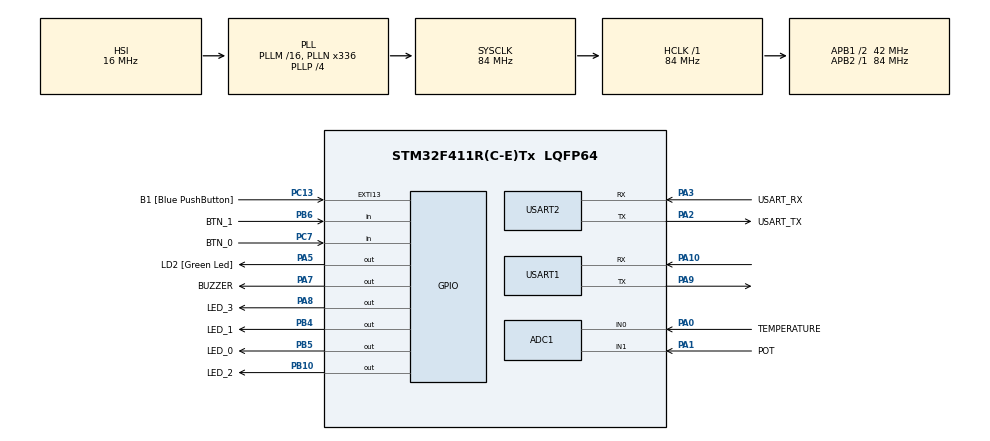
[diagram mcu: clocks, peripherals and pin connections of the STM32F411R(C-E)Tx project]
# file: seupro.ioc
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Mcu.Family=STM32F4
RCC.CortexFreq_Value=84000000
PA14.GPIO_Label=TCK
PB6.GPIO_Label=BTN_1
RCC.SYSCLKSource=RCC_SYSCLKSOURCE_PLLCLK
ProjectManager.StackSize=0x400
VP_FREERTOS_VS_CMSIS_V2.Mode=CMSIS_V2
PH0\ -\ OSC_IN.Signal=RCC_OSC_IN
RCC.HCLKFreq_Value=84000000
RCC.APB2TimFreq_Value=84000000
PB6.Signal=GPIO_Input
PC7.Signal=GPIO_Input
RCC.AHBFreq_Value=84000000
Dma.USART1_RX.0.Priority=DMA_PRIORITY_LOW
RCC.HSE_VALUE=8000000
PC13-ANTI_TAMP.Signal=GPXTI13
PC14-OSC32_IN.Mode=LSE-External-Oscillator
PA14.Mode=Serial_Wire
VP_SYS_VS_tim1.Mode=TIM1
PA8.Signal=GPIO_Output
SH.ADCx_IN0.0=ADC1_IN0,IN0
Dma.USART1_RX.0.MemInc=DMA_MINC_ENABLE
FREERTOS.configTOTAL_HEAP_SIZE=40000
RCC.FLatency-AdvancedSettings=FLASH_LATENCY_2
Mcu.Package=LQFP64
NVIC.TimeBase=TIM1_UP_TIM10_IRQn
USART2.VirtualMode=VM_ASYNC
PA2.GPIO_Label=USART_TX
NVIC.TimeBaseIP=TIM1
PA10.Signal=USART1_RX
Dma.USART1_RX.0.FIFOMode=DMA_FIFOMODE_DISABLE
SH.ADCx_IN1.0=ADC1_IN1,IN1
PB5.GPIO_Label=LED_0
NVIC.DMA2_Stream2_IRQn=true\:5\:0\:false\:false\:true\:true\:false\:true
RCC.APB1TimFreq_Value=84000000
Dma.USART1_RX.0.Mode=DMA_NORMAL
Dma.Request0=USART1_RX
Dma.USART1_RX.0.Instance=DMA2_Stream2
PB4.Signal=GPIO_Output
PA3.Signal=USART2_RX
PB3.GPIO_Label=SWO
PC15-OSC32_OUT.Mode=LSE-External-Oscillator
FREERTOS.Tasks01=displayTask,24,2048,startDisplayTask,Default,NULL,Dynamic,NULL,NULL;temperatureTask,24,2048,startTemperature,Default,NULL,Dynamic,NULL,NULL;globalTimeTask,24,2048,startGlobalTimeTask,Default,NULL,Dynamic,NULL,NULL
Dma.USART1_RX.0.PeriphDataAlignment=DMA_PDATAALIGN_BYTE
PA10.Mode=Asynchronous
PC13-ANTI_TAMP.GPIO_Label=B1 [Blue PushButton]
PB6.GPIO_PuPd=GPIO_PULLUP
PH1\ -\ OSC_OUT.Mode=HSE-External-Clock-Source
RCC.APB1CLKDivider=RCC_HCLK_DIV2
PC14-OSC32_IN.Signal=RCC_OSC32_IN
PA0-WKUP.GPIO_Label=TEMPERATURE
PA0-WKUP.Signal=ADCx_IN0
PA13.Signal=SYS_JTMS-SWDIO
PA3.Mode=Asynchronous
PA9.Mode=Asynchronous
PH0\ -\ OSC_IN.Mode=HSE-External-Clock-Source
PA8.GPIO_Label=LED_3
ProjectManager.TargetToolchain=STM32CubeIDE
PB10.GPIO_Label=LED_2
Dma.USART1_RX.0.Direction=DMA_PERIPH_TO_MEMORY
PA9.Signal=USART1_TX
ADC1.Channel-1\#ChannelRegularConversion=ADC_CHANNEL_0
PC7.GPIO_PuPd=GPIO_PULLUP
PC15-OSC32_OUT.Signal=RCC_OSC32_OUT
PA1.Signal=ADCx_IN1
Dma.USART1_RX.0.PeriphInc=DMA_PINC_DISABLE
PB10.Signal=GPIO_Output
PA5.Signal=GPIO_Output
PH1\ -\ OSC_OUT.Signal=RCC_OSC_OUT
board=NUCLEO-F411RE
RCC.VCOOutputFreq_Value=336000000
RCC.APB2Freq_Value=84000000
PB4.GPIO_Label=LED_1
PA1.GPIO_Label=POT
Dma.USART1_RX.0.MemDataAlignment=DMA_MDATAALIGN_BYTE
PA13.Mode=Serial_Wire
Mcu.Name=STM32F411R(C-E)Tx
PA2.Signal=USART2_TX
PA13.GPIO_Label=TMS
PC7.GPIO_Label=BTN_0
RCC.48MHZClocksFreq_Value=84000000
PB3.Signal=SYS_JTDO-SWO
ADC1.SamplingTime-1\#ChannelRegularConversion=ADC_SAMPLETIME_3CYCLES
RCC.SYSCLKFreq_VALUE=84000000
PB5.Signal=GPIO_Output
PA7.GPIO_Label=BUZZER
ADC1.master=1
PA5.GPIO_Label=LD2 [Green Led]
USART1.VirtualMode=VM_ASYNC
PC13-ANTI_TAMP.GPIO_ModeDefaultEXTI=GPIO_MODE_IT_FALLING
ADC1.Rank-1\#ChannelRegularConversion=1
PA14.Signal=SYS_JTCK-SWCLK
ProjectManager.HeapSize=0x200
NVIC.TIM1_UP_TIM10_IRQn=true\:0\:0\:false\:false\:true\:false\:false\:true
RCC.HSI_VALUE=16000000
FREERTOS.Mutexes01=timerMutex,Dynamic,NULL;temperatureMutex,Dynamic,NULL
RCC.PLLP=RCC_PLLP_DIV4
NVIC.PriorityGroup=NVIC_PRIORITYGROUP_4
ADC1.NbrOfConversionFlag=1
RCC.PLLN=336
PA2.Mode=Asynchronous
RCC.APB1Freq_Value=42000000
PA3.GPIO_Label=USART_RX
PA7.Signal=GPIO_Output

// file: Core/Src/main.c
/* USER CODE BEGIN Header */
/**
  ******************************************************************************
  * @file           : main.c
  * @brief          : Main program body
  ******************************************************************************
  * @attention
  *
  * <h2><center>&copy; Copyright (c) 2021 STMicroelectronics.
  * All rights reserved.</center></h2>
  *
  * This software component is licensed by ST under BSD 3-Clause license,
  * the "License"; You may not use this file except in compliance with the
  * License. You may obtain a copy of the License at:
  *                        opensource.org/licenses/BSD-3-Clause
  *
  ******************************************************************************
  */
/* USER CODE END Header */
#include "main.h"
#include "cmsis_os.h"

/* USER CODE BEGIN Includes */
#include "utility.h"

/* USER CODE END Includes */

/* USER CODE BEGIN PD */
#define R25    		  10000.0
#define T25           298.15
#define BETA          3900
#define PRINT		  &huart2
#define UART_ESP8266  &huart1

/* USER CODE END PD */

ADC_HandleTypeDef hadc1;

UART_HandleTypeDef huart1;
UART_HandleTypeDef huart2;
DMA_HandleTypeDef hdma_usart1_rx;

/* Definitions for displayTask */
osThreadId_t displayTaskHandle;
const osThreadAttr_t displayTask_attributes = {
  .name = "displayTask",
  .stack_size = 2048 * 4,
  .priority = (osPriority_t) osPriorityNormal,
};
/* Definitions for temperatureTask */
osThreadId_t temperatureTaskHandle;
const osThreadAttr_t temperatureTask_attributes = {
  .name = "temperatureTask",
  .stack_size = 2048 * 4,
  .priority = (osPriority_t) osPriorityNormal,
};
/* Definitions for globalTimeTask */
osThreadId_t globalTimeTaskHandle;
const osThreadAttr_t globalTimeTask_attributes = {
  .name = "globalTimeTask",
  .stack_size = 2048 * 4,
  .priority = (osPriority_t) osPriorityNormal,
};
/* Definitions for timerMutex */
osMutexId_t timerMutexHandle;
const osMutexAttr_t timerMutex_attributes = {
  .name = "timerMutex"
};
/* Definitions for temperatureMutex */
osMutexId_t temperatureMutexHandle;
const osMutexAttr_t temperatureMutex_attributes = {
  .name = "temperatureMutex"
};
/* USER CODE BEGIN PV */

int     light_list[4]={0,0,0,0};
char    global_time_buffer[6];
float 	global_temperature_buffer = 0.0;
char	buff_sprintf100[100];
uint8_t buff_sprintf100_1[100];
uint8_t buff_recv[2048];
uint8_t buff_response1[2048];

/* USER CODE END PV */

void SystemClock_Config(void);
static void MX_GPIO_Init(void);
static void MX_DMA_Init(void);
static void MX_USART2_UART_Init(void);
static void MX_USART1_UART_Init(void);
static void MX_ADC1_Init(void);
void startDisplayTask(void *argument);
void startTemperature(void *argument);
void startGlobalTimeTask(void *argument);

int main(void)
{

  /* MCU Configuration--------------------------------------------------------*/

  /* Reset of all peripherals, Initializes the Flash interface and the Systick. */
  HAL_Init();

  /* Configure the system clock */
  SystemClock_Config();

  /* Initialize all configured peripherals */
  MX_GPIO_Init();
  MX_DMA_Init();
  MX_USART2_UART_Init();
  MX_USART1_UART_Init();
  MX_ADC1_Init();

  /* Init scheduler */
  osKernelInitialize();
  /* Create the mutex(es) */
  /* creation of timerMutex */
  timerMutexHandle = osMutexNew(&timerMutex_attributes);

  /* creation of temperatureMutex */
  temperatureMutexHandle = osMutexNew(&temperatureMutex_attributes);

  /* Create the thread(s) */
  /* creation of displayTask */
  displayTaskHandle = osThreadNew(startDisplayTask, NULL, &displayTask_attributes);

  /* creation of temperatureTask */
  temperatureTaskHandle = osThreadNew(startTemperature, NULL, &temperatureTask_attributes);

  /* creation of globalTimeTask */
  globalTimeTaskHandle = osThreadNew(startGlobalTimeTask, NULL, &globalTimeTask_attributes);

  /* Start scheduler */
  osKernelStart();

  /* We should never get here as control is now taken by the scheduler */
  /* Infinite loop */
  while (1)
  {

  }
}

void SystemClock_Config(void)
{
  RCC_OscInitTypeDef RCC_OscInitStruct = {0};
  RCC_ClkInitTypeDef RCC_ClkInitStruct = {0};

  /** Configure the main internal regulator output voltage
  */
  __HAL_RCC_PWR_CLK_ENABLE();
  __HAL_PWR_VOLTAGESCALING_CONFIG(PWR_REGULATOR_VOLTAGE_SCALE1);
  /** Initializes the RCC Oscillators according to the specified parameters
  * in the RCC_OscInitTypeDef structure.
  */
  RCC_OscInitStruct.OscillatorType = RCC_OSCILLATORTYPE_HSI;
  RCC_OscInitStruct.HSIState = RCC_HSI_ON;
  RCC_OscInitStruct.HSICalibrationValue = RCC_HSICALIBRATION_DEFAULT;
  RCC_OscInitStruct.PLL.PLLState = RCC_PLL_ON;
  RCC_OscInitStruct.PLL.PLLSource = RCC_PLLSOURCE_HSI;
  RCC_OscInitStruct.PLL.PLLM = 16;
  RCC_OscInitStruct.PLL.PLLN = 336;
  RCC_OscInitStruct.PLL.PLLP = RCC_PLLP_DIV4;
  RCC_OscInitStruct.PLL.PLLQ = 4;
  if (HAL_RCC_OscConfig(&RCC_OscInitStruct) != HAL_OK)
  {
    Error_Handler();
  }
  /** Initializes the CPU, AHB and APB buses clocks
  */
  RCC_ClkInitStruct.ClockType = RCC_CLOCKTYPE_HCLK|RCC_CLOCKTYPE_SYSCLK
                              |RCC_CLOCKTYPE_PCLK1|RCC_CLOCKTYPE_PCLK2;
  RCC_ClkInitStruct.SYSCLKSource = RCC_SYSCLKSOURCE_PLLCLK;
  RCC_ClkInitStruct.AHBCLKDivider = RCC_SYSCLK_DIV1;
  RCC_ClkInitStruct.APB1CLKDivider = RCC_HCLK_DIV2;
  RCC_ClkInitStruct.APB2CLKDivider = RCC_HCLK_DIV1;

  if (HAL_RCC_ClockConfig(&RCC_ClkInitStruct, FLASH_LATENCY_2) != HAL_OK)
  {
    Error_Handler();
  }
}

static void MX_ADC1_Init(void)
{

  ADC_ChannelConfTypeDef sConfig = {0};

  /** Configure the global features of the ADC (Clock, Resolution, Data Alignment and number of conversion)
  */
  hadc1.Instance = ADC1;
  hadc1.Init.ClockPrescaler = ADC_CLOCK_SYNC_PCLK_DIV4;
  hadc1.Init.Resolution = ADC_RESOLUTION_12B;
  hadc1.Init.ScanConvMode = DISABLE;
  hadc1.Init.ContinuousConvMode = DISABLE;
  hadc1.Init.DiscontinuousConvMode = DISABLE;
  hadc1.Init.ExternalTrigConvEdge = ADC_EXTERNALTRIGCONVEDGE_NONE;
  hadc1.Init.ExternalTrigConv = ADC_SOFTWARE_START;
  hadc1.Init.DataAlign = ADC_DATAALIGN_RIGHT;
  hadc1.Init.NbrOfConversion = 1;
  hadc1.Init.DMAContinuousRequests = DISABLE;
  hadc1.Init.EOCSelection = ADC_EOC_SINGLE_CONV;
  if (HAL_ADC_Init(&hadc1) != HAL_OK)
  {
    Error_Handler();
  }
  /** Configure for the selected ADC regular channel its corresponding rank in the sequencer and its sample time.
  */
  sConfig.Channel = ADC_CHANNEL_0;
  sConfig.Rank = 1;
  sConfig.SamplingTime = ADC_SAMPLETIME_3CYCLES;
  if (HAL_ADC_ConfigChannel(&hadc1, &sConfig) != HAL_OK)
  {
    Error_Handler();
  }

}

static void MX_USART1_UART_Init(void)
{

  huart1.Instance = USART1;
  huart1.Init.BaudRate = 115200;
  huart1.Init.WordLength = UART_WORDLENGTH_8B;
  huart1.Init.StopBits = UART_STOPBITS_1;
  huart1.Init.Parity = UART_PARITY_NONE;
  huart1.Init.Mode = UART_MODE_TX_RX;
  huart1.Init.HwFlowCtl = UART_HWCONTROL_NONE;
  huart1.Init.OverSampling = UART_OVERSAMPLING_16;
  if (HAL_UART_Init(&huart1) != HAL_OK)
  {
    Error_Handler();
  }

}

static void MX_USART2_UART_Init(void)
{

  huart2.Instance = USART2;
  huart2.Init.BaudRate = 115200;
  huart2.Init.WordLength = UART_WORDLENGTH_8B;
  huart2.Init.StopBits = UART_STOPBITS_1;
  huart2.Init.Parity = UART_PARITY_NONE;
  huart2.Init.Mode = UART_MODE_TX_RX;
  huart2.Init.HwFlowCtl = UART_HWCONTROL_NONE;
  huart2.Init.OverSampling = UART_OVERSAMPLING_16;
  if (HAL_UART_Init(&huart2) != HAL_OK)
  {
    Error_Handler();
  }

}

static void MX_DMA_Init(void)
{

  /* DMA controller clock enable */
  __HAL_RCC_DMA2_CLK_ENABLE();

  /* DMA interrupt init */
  /* DMA2_Stream2_IRQn interrupt configuration */
  HAL_NVIC_SetPriority(DMA2_Stream2_IRQn, 5, 0);
  HAL_NVIC_EnableIRQ(DMA2_Stream2_IRQn);

}

static void MX_GPIO_Init(void)
{
  GPIO_InitTypeDef GPIO_InitStruct = {0};

  /* GPIO Ports Clock Enable */
  __HAL_RCC_GPIOC_CLK_ENABLE();
  __HAL_RCC_GPIOH_CLK_ENABLE();
  __HAL_RCC_GPIOA_CLK_ENABLE();
  __HAL_RCC_GPIOB_CLK_ENABLE();

  /*Configure GPIO pin Output Level */
  HAL_GPIO_WritePin(GPIOA, LD2_Pin|BUZZER_Pin|LED_3_Pin, GPIO_PIN_RESET);

  /*Configure GPIO pin Output Level */
  HAL_GPIO_WritePin(GPIOB, LED_2_Pin|LED_1_Pin|LED_0_Pin, GPIO_PIN_RESET);

  /*Configure GPIO pin : B1_Pin */
  GPIO_InitStruct.Pin = B1_Pin;
  GPIO_InitStruct.Mode = GPIO_MODE_IT_FALLING;
  GPIO_InitStruct.Pull = GPIO_NOPULL;
  HAL_GPIO_Init(B1_GPIO_Port, &GPIO_InitStruct);

  /*Configure GPIO pins : LD2_Pin BUZZER_Pin LED_3_Pin */
  GPIO_InitStruct.Pin = LD2_Pin|BUZZER_Pin|LED_3_Pin;
  GPIO_InitStruct.Mode = GPIO_MODE_OUTPUT_PP;
  GPIO_InitStruct.Pull = GPIO_NOPULL;
  GPIO_InitStruct.Speed = GPIO_SPEED_FREQ_LOW;
  HAL_GPIO_Init(GPIOA, &GPIO_InitStruct);

  /*Configure GPIO pins : LED_2_Pin LED_1_Pin LED_0_Pin */
  GPIO_InitStruct.Pin = LED_2_Pin|LED_1_Pin|LED_0_Pin;
  GPIO_InitStruct.Mode = GPIO_MODE_OUTPUT_PP;
  GPIO_InitStruct.Pull = GPIO_NOPULL;
  GPIO_InitStruct.Speed = GPIO_SPEED_FREQ_LOW;
  HAL_GPIO_Init(GPIOB, &GPIO_InitStruct);

  /*Configure GPIO pin : BTN_0_Pin */
  GPIO_InitStruct.Pin = BTN_0_Pin;
  GPIO_InitStruct.Mode = GPIO_MODE_INPUT;
  GPIO_InitStruct.Pull = GPIO_PULLUP;
  HAL_GPIO_Init(BTN_0_GPIO_Port, &GPIO_InitStruct);

  /*Configure GPIO pin : BTN_1_Pin */
  GPIO_InitStruct.Pin = BTN_1_Pin;
  GPIO_InitStruct.Mode = GPIO_MODE_INPUT;
  GPIO_InitStruct.Pull = GPIO_PULLUP;
  HAL_GPIO_Init(BTN_1_GPIO_Port, &GPIO_InitStruct);

}

/* USER CODE BEGIN 4 */

/*
 * Function for setting the lights and activating the Buzzer
 * */
void set_lights_and_buzzer(int buzz){
	HAL_GPIO_WritePin(GPIOB, LED_0_Pin, light_list[0]);
	HAL_GPIO_WritePin(GPIOB, LED_1_Pin, light_list[1]);
	HAL_GPIO_WritePin(GPIOB, LED_2_Pin, light_list[2]);
	HAL_GPIO_WritePin(GPIOA, LED_3_Pin, light_list[3]);

	HAL_GPIO_WritePin(GPIOA, BUZZER_Pin, buzz);

}

/*
 * time_buffer_write() and time_buffer_read() makes sure the reading and writing to the global buffer happens with mutual exclution
 * */
void time_buffer_write(char* time, int size){
	while( osMutexAcquire(timerMutexHandle, 10000/portTICK_RATE_MS) != osOK);	// Aquire mutex
	for(int i=0; i < size;i++){
		global_time_buffer[i] = time[i];
	}
	while(osMutexRelease(timerMutexHandle) != osOK);	//Release mutex
}

/*
 * time_buffer_write() and time_buffer_read() makes sure the reading and writing to the global buffer happens with mutual exclution
 * */
void time_buffer_read(char* time, int size){

	while(osMutexAcquire(timerMutexHandle, 10000/portTICK_RATE_MS) != osOK);	// Aquire mutex
	for(int i = 0; i<size; i++){
		time[i] = global_time_buffer[i];
	}
	while(osMutexRelease(timerMutexHandle) != osOK);
}

/*
 * temperature_buffer_write() and temperature_buffer_read() makes sure the reading and writing to the global buffer happens with mutual exclution
 * */
void temperature_buffer_write(float temperature){
	while( osMutexAcquire(temperatureMutexHandle, 10000/portTICK_RATE_MS) != osOK);	// Aquire mutex
	global_temperature_buffer = temperature;
	while(osMutexRelease(temperatureMutexHandle) != osOK);	//Release mutex
}

/*
 * temperature_buffer_write() and temperature_buffer_read() makes sure the reading and writing to the global buffer happens with mutual exclution
 * */
float temperature_buffer_read(){
	float temperature = 0.0;
	while(osMutexAcquire(temperatureMutexHandle, 10000/portTICK_RATE_MS) != osOK);	// Aquire mutex
	temperature = global_temperature_buffer;
	while(osMutexRelease(temperatureMutexHandle) != osOK);
	return temperature;
}

/*
 *	 This function takes in the response from a HTTP request and cleans away so were left with only the JSON.
 */
void cleanResponse(char * data, int maxlen){

	int t,h,l,o,i = 0;
	char * res;
	int indexbk;
	char bytes[4];

	res = data;

	for(t=0; t < maxlen; t++) buff_response1[t] = '*';

	for(t = 0; t< maxlen;){
		res = strnstr(res, "+IPD", maxlen-t);
		if(res!=NULL){
			bytes[0]=*(res+5);
			bytes[1]=*(res+6);
			bytes[2]=*(res+7);
			bytes[3]=*(res+8);

			for(h=0;h<4;h++) if(bytes[h]==':'){o=h;bytes[h]=0;}
			l=atoi(bytes);

			for(h=0;h<l;h++)buff_response1[t+h]=*(res+h+o+6);
			indexbk = t+h;
			t=t+l;
			res = res+t+o+6; // To avoid +IPD
		}else{
			buff_response1[indexbk] = 0;
			break;
		}
	}
	i=0;
	do{
	}while(buff_response1[i++]!='{');
	i--;

	for(t = 0; t < (2048-i); t++){
		buff_response1[t] = buff_response1[t+1];
	}

}

/*
 * This functions send a HTTP request to worldclockapi.com to get the current time
 * */
void ESP8266_get_time(void) {
	int ct;
	sprintf(buff_sprintf100,"AT+CIPSTART=\"TCP\",\"%s\",%s\r\n","worldclockapi.com","80");
	HAL_UART_Transmit(UART_ESP8266,( unsigned char *) buff_sprintf100, strlen( buff_sprintf100),100000); // cabecera
	osDelay(100);
	sprintf(buff_sprintf100,"GET /api/json/cet/now HTTP/1.1\r\nAccept: text/html\r\nHost: worldclockapi.com\r\n\r\n");
	sprintf(buff_sprintf100_1,( unsigned char *)"AT+CIPSEND=%d\r\n",strlen(buff_sprintf100));
	HAL_UART_Transmit(UART_ESP8266,( unsigned char *) buff_sprintf100_1, strlen( buff_sprintf100_1),100000); // cabecera
	osDelay(100);

	for (ct=0;ct<2048;ct++) buff_recv[ct]=0;
	HAL_UART_Receive_DMA(UART_ESP8266, buff_recv,2048);
	HAL_UART_Transmit(UART_ESP8266,( unsigned char *) buff_sprintf100, strlen( buff_sprintf100),100000); // cabecera
	osDelay(500);
	HAL_UART_DMAStop(UART_ESP8266);

	cleanResponse(( unsigned char *)buff_recv,2048);
}

/*
 * This function is to set up the ESP8266 to connect to wifi. It is only runned once.
 * */
void ESP8266_Boot(void)
{
	int ct;

	    // Tiene IP?
		for (ct=0;ct<2048;ct++) buff_recv[ct]=0;
		HAL_UART_Receive_DMA(UART_ESP8266, buff_recv,2048);
		HAL_UART_Transmit(UART_ESP8266, ( unsigned char *)"AT+CIFSR\r\n",strlen("AT+CIFSR\r\n"),10000);
		osDelay(2000);
		HAL_UART_DMAStop(UART_ESP8266);
		HAL_UART_Transmit(&huart2, buff_recv,strlen((char*)buff_recv),10000);

		// Pon en modo station=1,  station+access_point=3
		for (ct=0;ct<2048;ct++) buff_recv[ct]=0;
		HAL_UART_Receive_DMA(UART_ESP8266, buff_recv,2048);
		HAL_UART_Transmit(UART_ESP8266, ( unsigned char *) "AT+CWMODE=1\r\n",strlen("AT+CWMODE=1\r\n"),100000);
		osDelay(2000);
		HAL_UART_DMAStop(UART_ESP8266);
		HAL_UART_Transmit(&huart2, buff_recv,strlen((char *)buff_recv),10000);

		// Programa la contraseña del access-point
		for (ct=0;ct<2048;ct++) buff_recv[ct]=0;
		HAL_UART_Receive_DMA(UART_ESP8266, buff_recv,2048);
		HAL_UART_Transmit(UART_ESP8266,( unsigned char *) "AT+CWJAP=\"Lowi338D\",\"VVGH3T7SR28SQ9\"\r\n",strlen("AT+CWJAP=\"Lowi338D\",\"VVGH3T7SR28SQ9\"\r\n"),10000);
		osDelay(10000);
		HAL_UART_DMAStop(UART_ESP8266);
		HAL_UART_Transmit(&huart2, buff_recv,strlen((char *)buff_recv),10000);

		// verifica si hay IP
		for (ct=0;ct<2048;ct++) buff_recv[ct]=0;
		HAL_UART_Receive_DMA(UART_ESP8266, buff_recv,2048);
		HAL_UART_Transmit(UART_ESP8266, ( unsigned char *)"AT+CIFSR\r\n",strlen("AT+CIFSR\r\n"),10000);
		osDelay(4000);
		HAL_UART_DMAStop(UART_ESP8266);
		HAL_UART_Transmit(&huart2, buff_recv,strlen((char *)buff_recv),10000);

}

/* USER CODE END 4 */

void startDisplayTask(void *argument)
{
  /* USER CODE BEGIN 5 */
  /* Infinite loop */

  for(;;)
  {
	 osDelay(1000);

	 // Get temperature from global buffer
	 float temperature = 0.0;
	 temperature = temperature_buffer_read();

	 // Get time from global buffer
	 char time[6];
	 time_buffer_read(time,6);

	 printf("Time: %s - Temperature: %.2f\r\n",time,temperature);
  }
  /* USER CODE END 5 */
}

void startTemperature(void *argument)
{
  /* USER CODE BEGIN startTemperature */
  /* Infinite loop */
	for(;;)
	  {
		  osDelay(1000);
		  uint32_t valueAD;
		  float VRNTC,RNTC,TNTC;
		  int buzzer = 0;

		  ADC_ChannelConfTypeDef sConfig = {0};
			// configuracion del canal de entrada A/D
		  sConfig.Channel = ADC_CHANNEL_1;
		  sConfig.Rank = 1;
		  //sConfig.SamplingTime = ADC_SAMPLETIME_2CYCLE_5;
		  HAL_ADC_ConfigChannel(&hadc1, &sConfig);
		  // Disparo la conversion
		  HAL_ADC_Start(&hadc1);
		  // Espero la finalización
		  HAL_ADC_PollForConversion(&hadc1, 10000);
		  // Leo el valor de la conversión 4095 y 0
		  valueAD=HAL_ADC_GetValue(&hadc1);
		  //printf("valor %d \r\n",valueAD);

		  TNTC=BETA/(log((-10000.0*3.3/(valueAD*3.3/4095.9-3.3)-10000.0)/R25)+BETA/T25)-273.18;

		  temperature_buffer_write(TNTC);

		  if(TNTC>32){
			  for(int i = 0; i<4; i++){
				  light_list[i] = 1;
			  }
			  if(TNTC>34){
				  buzzer = 1;
			  }
		  } else if(TNTC > 29){
				light_list[0]=0;
				light_list[1]=1;
				light_list[2]=1;
				light_list[3]=1;
				buzzer = 0;
		  } else if(TNTC > 26){
				light_list[0]=0;
				light_list[1]=0;
				light_list[2]=1;
				light_list[3]=1;
				buzzer=0;
		  }else if(TNTC > 23){
				light_list[0]=0;
				light_list[1]=0;
				light_list[2]=0;
				light_list[3]=1;
				buzzer = 0;
		  }else{
			  for(int i = 0; i<4; i++){
				  light_list[i]=0;
			  }
			  buzzer = 0;
		  }
		  set_lights_and_buzzer(buzzer);

	  }
  /* USER CODE END startTemperature */
}

void startGlobalTimeTask(void *argument)
{
  /* USER CODE BEGIN startGlobalTimeTask */
	int it;
	char * temp_time;
	it=0;
  /* Infinite loop */
  for(;;)
  {
	  it++;
	  //ESP8266_boot();
	  ESP8266_get_time();

	  temp_time = strstr(buff_response1,"currentDateTime");
	  temp_time = temp_time+strlen("currentDateTime:yyyy-mm-dd:")+2; // +2 to skip ""
		int q = 0;
		do{
		}while(temp_time[q++]!='+'); //iterate over the timestamp, already know it ends with +
		q--;
		for(q; q < strlen(temp_time);q++)temp_time[q]=NULL; //Remove the rest of the response

	    if(temp_time[0] != 0){
	    	time_buffer_write(temp_time, strlen(temp_time)); // Write current time to global time buffer
	    	temp_time[0] = 0;
	    }
		fflush(NULL);

    osDelay(200);
  }
  /* USER CODE END startGlobalTimeTask */
}

 /**
  * @brief  Period elapsed callback in non blocking mode
  * @note   This function is called  when TIM1 interrupt took place, inside
  * HAL_TIM_IRQHandler(). It makes a direct call to HAL_IncTick() to increment
  * a global variable "uwTick" used as application time base.
  * @param  htim : TIM handle
  * @retval None
  */
void HAL_TIM_PeriodElapsedCallback(TIM_HandleTypeDef *htim)
{
  if (htim->Instance == TIM1) {
    HAL_IncTick();
  }
}

void Error_Handler(void)
{
  __disable_irq();
  while (1)
  {
  }
}

/************************ (C) COPYRIGHT STMicroelectronics *****END OF FILE****/
